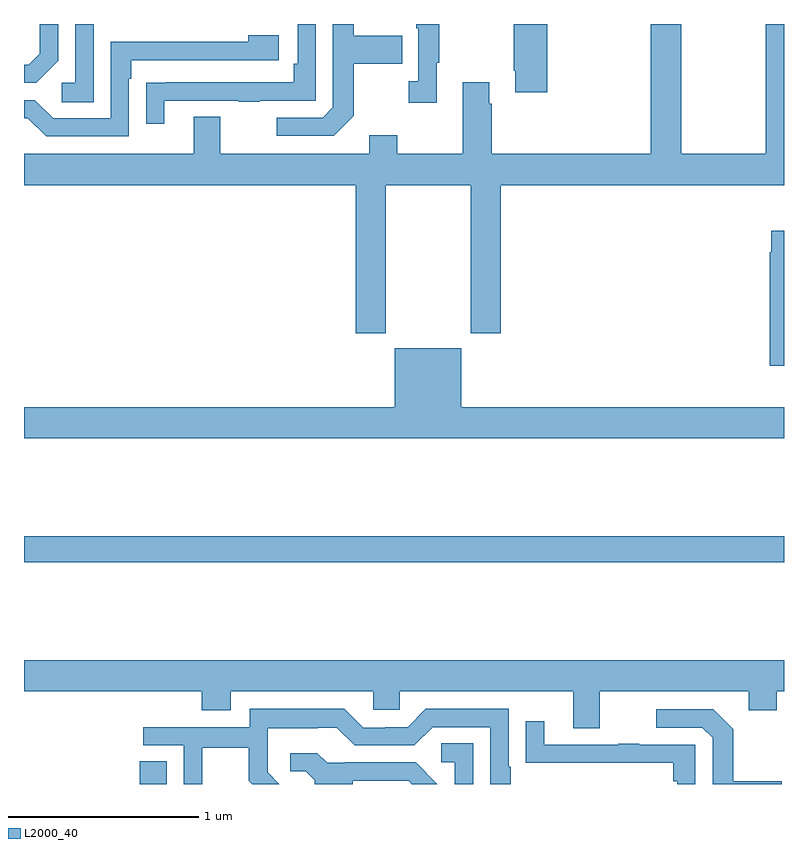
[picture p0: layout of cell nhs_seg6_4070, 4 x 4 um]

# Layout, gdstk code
import gdstk
lib = gdstk.Library(unit=1e-6, precision=1e-09)
def R(c, l, rs):  # rectangles x0, y0, x1, y1
    for r in rs: c.add(gdstk.rectangle(r[:2], r[2:], *l))
def P(c, l, *ps):  # polygons
    for p in ps: c.add(gdstk.Polygon(p, *l))
L2000_40 = (2000, 40)

nhs_seg6_4070 = lib.new_cell('nhs_seg6_4070')
R(nhs_seg6_4070, L2000_40, [(351.608,961.5,351.751,961.619), (351,962.668,355,962.804)])
P(nhs_seg6_4070, L2000_40, [(352.905,964.652),(353.35,964.652),(353.35,963.873),(353.51,963.873),(353.51,964.652),(355,964.652),(355,965.5),(354.904,965.5),(354.904,964.816),(354.459,964.816),(354.459,965.5),(354.299,965.5),(354.299,964.816),(353.462,964.816),(353.462,965.081),(353.449,965.081),(353.449,965.194),(353.309,965.194),(353.309,964.816),(352.965,964.816),(352.965,964.915),(352.817,964.915),(352.817,964.816),(352.033,964.816),(352.033,965.011),(351.893,965.011),(351.893,964.816),(351,964.816),(351,964.652),(352.745,964.652),(352.745,963.873),(352.905,963.873)],
  [(353.753,965.5),(353.578,965.5),(353.578,965.254),(353.585,965.254),(353.585,965.142),(353.753,965.142)],
  [(351.739,965.097),(352.129,965.097),(352.129,965.092),(352.241,965.092),(352.241,965.097),(352.536,965.097),(352.536,965.5),(352.44,965.5),(352.44,965.29),(352.42,965.29),(352.42,965.193),(351.745,965.193),(351.745,965.192),(351.643,965.192),(351.643,964.974),(351.739,964.974)],
  [(351.366,965.5),(351.27,965.5),(351.27,965.19),(351.198,965.19),(351.198,965.089),(351.366,965.089)],
  [(352.735,965.017),(352.735,965.29),(352.991,965.29),(352.991,965.437),(352.735,965.437),(352.735,965.5),(352.626,965.5),(352.626,965.061),(352.572,965.007),(352.329,965.007),(352.329,964.911),(352.629,964.911)],
  [(351.18,965.306),(351.18,965.5),(351.083,965.5),(351.083,965.343),(351.026,965.286),(351,965.286),(351,965.19),(351.064,965.19)],
  [(353.173,965.297),(353.185,965.297),(353.185,965.5),(353.064,965.5),(353.064,965.477),(353.076,965.477),(353.076,965.198),(353.025,965.198),(353.025,965.085),(353.173,965.085)],
  [(351.552,965.213),(351.565,965.213),(351.565,965.31),(352.342,965.31),(352.342,965.44),(352.181,965.44),(352.181,965.406),(351.456,965.406),(351.456,965.004),(351.153,965.004),(351.057,965.1),(351,965.1),(351,965.004),(351.021,965.004),(351.117,964.908),(351.552,964.908)],
  [(355,964.411),(354.933,964.411),(354.933,964.298),(354.925,964.298),(354.925,963.701),(355,963.701)],
  [(355,963.484),(353.302,963.484),(353.302,963.793),(352.952,963.793),(352.952,963.484),(351,963.484),(351,963.32),(355,963.32)],
  [(351,961.988),(351.935,961.988),(351.935,961.889),(352.087,961.889),(352.087,961.988),(352.839,961.988),(352.839,961.89),(352.977,961.89),(352.977,961.988),(353.891,961.988),(353.891,961.794),(354.031,961.794),(354.031,961.988),(354.815,961.988),(354.815,961.889),(354.963,961.889),(354.963,961.988),(355,961.988),(355,962.152),(351,962.152)],
  [(351.939,961.692),(352.183,961.692),(352.183,961.517),(352.2,961.5),(352.344,961.5),(352.282,961.562),(352.282,961.659),(352.284,961.659),(352.284,961.793),(352.547,961.793),(352.547,961.797),(352.647,961.797),(352.74,961.704),(353.055,961.704),(353.151,961.8),(353.454,961.8),(353.454,961.5),(353.563,961.5),(353.563,961.591),(353.55,961.591),(353.55,961.896),(353.115,961.896),(353.019,961.8),(352.901,961.8),(352.901,961.797),(352.785,961.797),(352.685,961.897),(352.188,961.897),(352.188,961.8),(351.627,961.8),(351.627,961.704),(351.84,961.704),(351.84,961.5),(351.939,961.5)],
  [(354.989,961.515),(354.733,961.515),(354.733,961.787),(354.627,961.893),(354.327,961.893),(354.327,961.797),(354.57,961.797),(354.624,961.743),(354.624,961.5),(354.989,961.5)],
  [(354.534,961.707),(354.239,961.707),(354.239,961.712),(354.127,961.712),(354.127,961.707),(353.737,961.707),(353.737,961.831),(353.641,961.831),(353.641,961.612),(353.743,961.612),(353.743,961.611),(354.418,961.611),(354.418,961.514),(354.438,961.514),(354.438,961.5),(354.534,961.5)],
  [(353.364,961.715),(353.196,961.715),(353.196,961.614),(353.268,961.614),(353.268,961.5),(353.364,961.5)],
  [(352.729,961.518),(353.024,961.518),(353.042,961.5),(353.176,961.5),(353.062,961.614),(352.69,961.614),(352.69,961.611),(352.596,961.611),(352.544,961.663),(352.401,961.663),(352.401,961.566),(352.482,961.566),(352.529,961.519),(352.529,961.5),(352.729,961.5)])

lib.write_gds('nhs_seg6_4070.gds')
